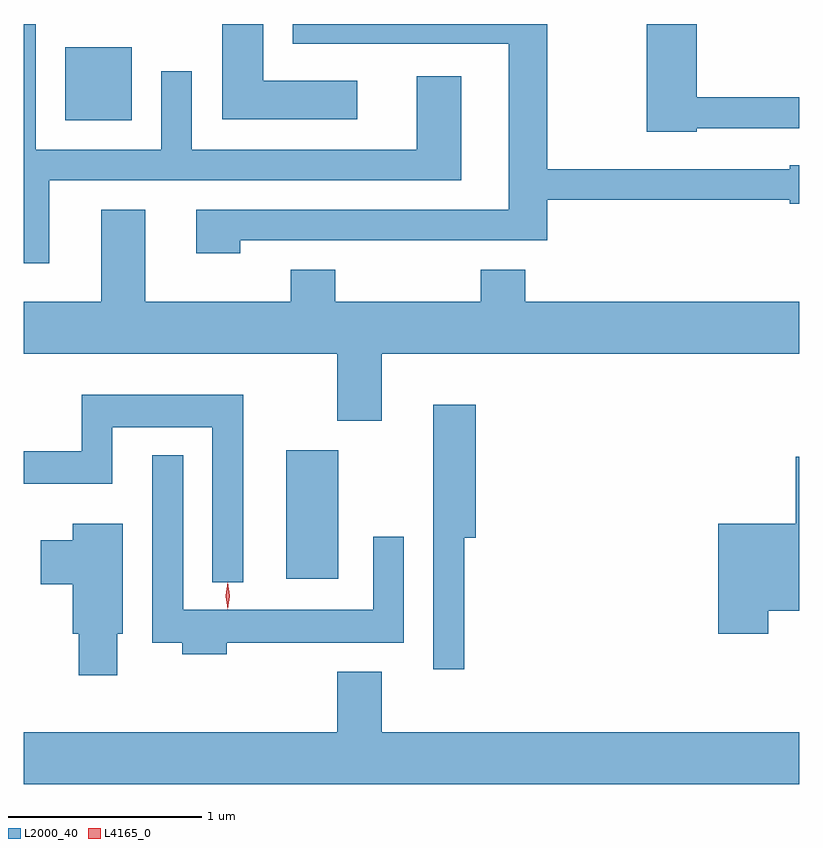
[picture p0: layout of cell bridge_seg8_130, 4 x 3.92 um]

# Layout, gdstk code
import gdstk
lib = gdstk.Library(unit=1e-6, precision=1e-09)
def R(c, l, rs):  # rectangles x0, y0, x1, y1
    for r in rs: c.add(gdstk.rectangle(r[:2], r[2:], *l))
def P(c, l, *ps):  # polygons
    for p in ps: c.add(gdstk.Polygon(p, *l))
L2000_40 = (2000, 40)
L4165_0 = (4165, 0)

bridge_seg8_130 = lib.new_cell('bridge_seg8_130')
R(bridge_seg8_130, L2000_40, [(1686.746,1841.916,1687.014,1842.579), (1685.606,1844.281,1685.949,1844.659)])
P(bridge_seg8_130, L2000_40, [(1687.114,1844.484),(1686.629,1844.484),(1686.629,1844.778),(1686.416,1844.778),(1686.416,1844.286),(1687.114,1844.286)],
  [(1688.864,1844.241),(1689.393,1844.241),(1689.393,1844.399),(1688.864,1844.399),(1688.864,1844.778),(1688.606,1844.778),(1688.606,1844.221),(1688.864,1844.221)],
  [(1685.524,1843.971),(1687.649,1843.971),(1687.649,1844.509),(1687.421,1844.509),(1687.421,1844.129),(1686.259,1844.129),(1686.259,1844.533),(1686.101,1844.533),(1686.101,1844.129),(1685.454,1844.129),(1685.454,1844.778),(1685.393,1844.778),(1685.393,1843.543),(1685.524,1843.543)],
  [(1686.509,1843.661),(1688.094,1843.661),(1688.094,1843.871),(1689.346,1843.871),(1689.346,1843.851),(1689.393,1843.851),(1689.393,1844.049),(1689.346,1844.049),(1689.346,1844.029),(1688.094,1844.029),(1688.094,1844.778),(1686.781,1844.778),(1686.781,1844.676),(1687.896,1844.676),(1687.896,1843.819),(1686.281,1843.819),(1686.281,1843.596),(1686.509,1843.596)],
  [(1687.239,1843.076),(1689.393,1843.076),(1689.393,1843.344),(1687.979,1843.344),(1687.979,1843.509),(1687.751,1843.509),(1687.751,1843.344),(1686.999,1843.344),(1686.999,1843.509),(1686.771,1843.509),(1686.771,1843.344),(1686.019,1843.344),(1686.019,1843.819),(1685.791,1843.819),(1685.791,1843.344),(1685.393,1843.344),(1685.393,1843.076),(1687.011,1843.076),(1687.011,1842.731),(1687.239,1842.731)],
  [(1686.524,1842.864),(1685.691,1842.864),(1685.691,1842.574),(1685.393,1842.574),(1685.393,1842.406),(1685.849,1842.406),(1685.849,1842.696),(1686.366,1842.696),(1686.366,1841.898),(1686.524,1841.898)],
  [(1687.664,1842.126),(1687.724,1842.126),(1687.724,1842.814),(1687.506,1842.814),(1687.506,1841.448),(1687.664,1841.448)],
  [(1686.439,1841.586),(1687.354,1841.586),(1687.354,1842.133),(1687.196,1842.133),(1687.196,1841.754),(1686.214,1841.754),(1686.214,1842.553),(1686.056,1842.553),(1686.056,1841.586),(1686.211,1841.586),(1686.211,1841.526),(1686.439,1841.526)],
  [(1689.234,1841.751),(1689.393,1841.751),(1689.393,1842.544),(1689.376,1842.544),(1689.376,1842.199),(1688.976,1842.199),(1688.976,1841.631),(1689.234,1841.631)],
  [(1685.874,1841.631),(1685.904,1841.631),(1685.904,1842.199),(1685.646,1842.199),(1685.646,1842.114),(1685.481,1842.114),(1685.481,1841.886),(1685.646,1841.886),(1685.646,1841.631),(1685.676,1841.631),(1685.676,1841.416),(1685.874,1841.416)],
  [(1689.393,1841.124),(1687.239,1841.124),(1687.239,1841.434),(1687.011,1841.434),(1687.011,1841.124),(1685.393,1841.124),(1685.393,1840.856),(1689.393,1840.856)])
P(bridge_seg8_130, L4165_0, [(1686.445,1841.757),(1686.445,1841.757),(1686.435,1841.827),(1686.445,1841.896),(1686.445,1841.896),(1686.446,1841.896),(1686.455,1841.827),(1686.446,1841.757)],
  [(1686.444,1841.76),(1686.444,1841.76),(1686.435,1841.826),(1686.444,1841.892),(1686.445,1841.893),(1686.445,1841.892),(1686.454,1841.826),(1686.445,1841.76)])

lib.write_gds('bridge_seg8_130.gds')
